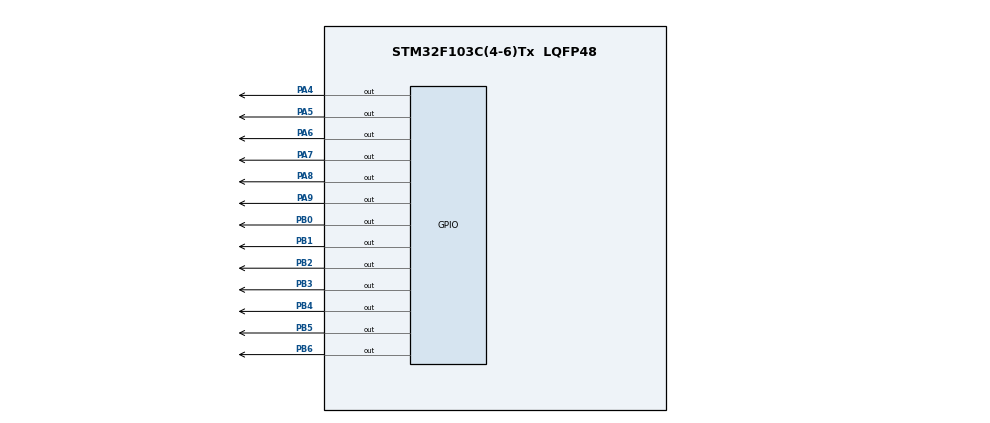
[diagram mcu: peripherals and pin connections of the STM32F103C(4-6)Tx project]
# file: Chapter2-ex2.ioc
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Mcu.Family=STM32F1
Mcu.Name=STM32F103C(4-6)Tx
Mcu.Package=LQFP48
NVIC.PriorityGroup=NVIC_PRIORITYGROUP_4
NVIC.TIM2_IRQn=true\:0\:0\:false\:false\:true\:true\:true
PA4.Signal=GPIO_Output
PA5.Signal=GPIO_Output
PA6.Signal=GPIO_Output
PA7.Signal=GPIO_Output
PA8.Signal=GPIO_Output
PA9.Signal=GPIO_Output
PB0.Signal=GPIO_Output
PB1.Signal=GPIO_Output
PB2.Signal=GPIO_Output
PB3.Signal=GPIO_Output
PB4.Signal=GPIO_Output
PB5.Signal=GPIO_Output
PB6.Signal=GPIO_Output
ProjectManager.HeapSize=0x200
ProjectManager.StackSize=0x400
ProjectManager.TargetToolchain=STM32CubeIDE
RCC.APB1Freq_Value=8000000
RCC.APB2Freq_Value=8000000
TIM2.AutoReloadPreload=TIM_AUTORELOAD_PRELOAD_ENABLE
TIM2.Period=9
TIM2.Prescaler=7999
VP_SYS_VS_ND.Mode=No_Debug
VP_TIM2_VS_ClockSourceINT.Mode=Internal
board=custom

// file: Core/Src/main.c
/* USER CODE BEGIN Header */
/**
  ******************************************************************************
  * @file           : main.c
  * @brief          : Main program body
  ******************************************************************************
  * @attention
  *
  * <h2><center>&copy; Copyright (c) 2021 STMicroelectronics.
  * All rights reserved.</center></h2>
  *
  * This software component is licensed by ST under BSD 3-Clause license,
  * the "License"; You may not use this file except in compliance with the
  * License. You may obtain a copy of the License at:
  *                        opensource.org/licenses/BSD-3-Clause
  *
  ******************************************************************************
  */
/* USER CODE END Header */
#include "main.h"

TIM_HandleTypeDef htim2;

/* USER CODE BEGIN PV */
int mil_1000 = 1;
int mil_500 = 1;

/* USER CODE END PV */

void SystemClock_Config(void);
static void MX_TIM2_Init(void);
static void MX_GPIO_Init(void);

int main(void)
{

  /* MCU Configuration--------------------------------------------------------*/

  /* Reset of all peripherals, Initializes the Flash interface and the Systick. */
  HAL_Init();

  /* Configure the system clock */
  SystemClock_Config();

  /* Initialize all configured peripherals */
  MX_TIM2_Init();
  MX_GPIO_Init();
  /* USER CODE BEGIN 2 */
  HAL_TIM_Base_Start_IT(&htim2);
  /* USER CODE END 2 */

  /* Infinite loop */
  while (1)
  {

  }
}

void SystemClock_Config(void)
{
  RCC_OscInitTypeDef RCC_OscInitStruct = {0};
  RCC_ClkInitTypeDef RCC_ClkInitStruct = {0};

  /** Initializes the RCC Oscillators according to the specified parameters
  * in the RCC_OscInitTypeDef structure.
  */
  RCC_OscInitStruct.OscillatorType = RCC_OSCILLATORTYPE_HSI;
  RCC_OscInitStruct.HSIState = RCC_HSI_ON;
  RCC_OscInitStruct.HSICalibrationValue = RCC_HSICALIBRATION_DEFAULT;
  RCC_OscInitStruct.PLL.PLLState = RCC_PLL_NONE;
  if (HAL_RCC_OscConfig(&RCC_OscInitStruct) != HAL_OK)
  {
    Error_Handler();
  }
  /** Initializes the CPU, AHB and APB buses clocks
  */
  RCC_ClkInitStruct.ClockType = RCC_CLOCKTYPE_HCLK|RCC_CLOCKTYPE_SYSCLK
                              |RCC_CLOCKTYPE_PCLK1|RCC_CLOCKTYPE_PCLK2;
  RCC_ClkInitStruct.SYSCLKSource = RCC_SYSCLKSOURCE_HSI;
  RCC_ClkInitStruct.AHBCLKDivider = RCC_SYSCLK_DIV1;
  RCC_ClkInitStruct.APB1CLKDivider = RCC_HCLK_DIV1;
  RCC_ClkInitStruct.APB2CLKDivider = RCC_HCLK_DIV1;

  if (HAL_RCC_ClockConfig(&RCC_ClkInitStruct, FLASH_LATENCY_0) != HAL_OK)
  {
    Error_Handler();
  }
}

static void MX_TIM2_Init(void)
{

  TIM_ClockConfigTypeDef sClockSourceConfig = {0};
  TIM_MasterConfigTypeDef sMasterConfig = {0};

  htim2.Instance = TIM2;
  htim2.Init.Prescaler = 7999;
  htim2.Init.CounterMode = TIM_COUNTERMODE_UP;
  htim2.Init.Period = 9;
  htim2.Init.ClockDivision = TIM_CLOCKDIVISION_DIV1;
  htim2.Init.AutoReloadPreload = TIM_AUTORELOAD_PRELOAD_ENABLE;
  if (HAL_TIM_Base_Init(&htim2) != HAL_OK)
  {
    Error_Handler();
  }
  sClockSourceConfig.ClockSource = TIM_CLOCKSOURCE_INTERNAL;
  if (HAL_TIM_ConfigClockSource(&htim2, &sClockSourceConfig) != HAL_OK)
  {
    Error_Handler();
  }
  sMasterConfig.MasterOutputTrigger = TIM_TRGO_RESET;
  sMasterConfig.MasterSlaveMode = TIM_MASTERSLAVEMODE_DISABLE;
  if (HAL_TIMEx_MasterConfigSynchronization(&htim2, &sMasterConfig) != HAL_OK)
  {
    Error_Handler();
  }

}

static void MX_GPIO_Init(void)
{
  GPIO_InitTypeDef GPIO_InitStruct = {0};

  /* GPIO Ports Clock Enable */
  __HAL_RCC_GPIOA_CLK_ENABLE();
  __HAL_RCC_GPIOB_CLK_ENABLE();

  /*Configure GPIO pin Output Level */
  HAL_GPIO_WritePin(GPIOA, GPIO_PIN_4|GPIO_PIN_5|GPIO_PIN_6|GPIO_PIN_7
                          |GPIO_PIN_8|GPIO_PIN_9, GPIO_PIN_RESET);

  /*Configure GPIO pin Output Level */
  HAL_GPIO_WritePin(GPIOB, GPIO_PIN_0|GPIO_PIN_1|GPIO_PIN_2|GPIO_PIN_3
                          |GPIO_PIN_4|GPIO_PIN_5|GPIO_PIN_6, GPIO_PIN_RESET);

  /*Configure GPIO pins : PA4 PA5 PA6 PA7
                           PA8 PA9 */
  GPIO_InitStruct.Pin = GPIO_PIN_4|GPIO_PIN_5|GPIO_PIN_6|GPIO_PIN_7
                          |GPIO_PIN_8|GPIO_PIN_9;
  GPIO_InitStruct.Mode = GPIO_MODE_OUTPUT_PP;
  GPIO_InitStruct.Pull = GPIO_NOPULL;
  GPIO_InitStruct.Speed = GPIO_SPEED_FREQ_LOW;
  HAL_GPIO_Init(GPIOA, &GPIO_InitStruct);

  /*Configure GPIO pins : PB0 PB1 PB2 PB3
                           PB4 PB5 PB6 */
  GPIO_InitStruct.Pin = GPIO_PIN_0|GPIO_PIN_1|GPIO_PIN_2|GPIO_PIN_3
                          |GPIO_PIN_4|GPIO_PIN_5|GPIO_PIN_6;
  GPIO_InitStruct.Mode = GPIO_MODE_OUTPUT_PP;
  GPIO_InitStruct.Pull = GPIO_NOPULL;
  GPIO_InitStruct.Speed = GPIO_SPEED_FREQ_LOW;
  HAL_GPIO_Init(GPIOB, &GPIO_InitStruct);

}

/* USER CODE BEGIN 4 */
void display7SEG(int num) {

	HAL_GPIO_WritePin(SEG_PORT, SEG0 | SEG1 | SEG2 | SEG3 | SEG4 | SEG5 | SEG6, 1);
		switch(num) {
		case 0:
			HAL_GPIO_WritePin(SEG_PORT, SEG0 | SEG1 | SEG2 | SEG3 | SEG4 | SEG5, 0);
			break;
		case 1:
			HAL_GPIO_WritePin(SEG_PORT, SEG1 | SEG2, 0);
			break;
		case 2:
			HAL_GPIO_WritePin(SEG_PORT, SEG0 | SEG1 | SEG3 | SEG4 | SEG6, 0);
			break;
		case 3:
			HAL_GPIO_WritePin(SEG_PORT, SEG0 | SEG1 | SEG2 | SEG3 | SEG6, 0);
			break;
		case 4:
			HAL_GPIO_WritePin(SEG_PORT, SEG1 | SEG2 | SEG5 | SEG6, 0);
			break;
		case 5:
			HAL_GPIO_WritePin(SEG_PORT, SEG0 | SEG2 | SEG3 | SEG5 | SEG6, 0);
			break;
		case 6:
			HAL_GPIO_WritePin(SEG_PORT, SEG0 | SEG2 | SEG3 | SEG4 | SEG5 | SEG6, 0);
			break;
		case 7:
			HAL_GPIO_WritePin(SEG_PORT, SEG0 | SEG1 | SEG2, 0);
			break;
		case 8:
			HAL_GPIO_WritePin(SEG_PORT, SEG0 | SEG1 | SEG2 | SEG3 | SEG4 | SEG5 | SEG6, 0);
			break;
		case 9:
			HAL_GPIO_WritePin(SEG_PORT, SEG0 | SEG1 | SEG2 | SEG3 | SEG5 | SEG6, 0);
			break;
		}
}

int led = 0;
void HAL_TIM_PeriodElapsedCallback(TIM_HandleTypeDef*htim) {
	mil_1000--; mil_500--;

	if(mil_500 == 0) {
		mil_500 = 50;

		HAL_GPIO_WritePin(EN_PORT, EN0 | EN1 | EN2 | EN3, 1);
		switch(led) {
		case 0:
			HAL_GPIO_WritePin(EN_PORT, EN0, 0);
			display7SEG(1);
			led = 1;
			break;
		case 1:
			HAL_GPIO_WritePin(EN_PORT, EN1, 0);
			display7SEG(2);
			led = 2;
			break;
		case 2:
			HAL_GPIO_WritePin(EN_PORT, EN2, 0);
			display7SEG(3);
			led = 3;
			break;
		case 3:
			HAL_GPIO_WritePin(EN_PORT, EN3, 0);
			display7SEG(0);
			led = 0;
			break;
		}
	}
	if(mil_1000 == 0) {
		mil_1000 = 100;
		HAL_GPIO_TogglePin(DOT_PORT, DOT);
		HAL_GPIO_TogglePin(RLED_PORT, RLED1);
	}
}
/* USER CODE END 4 */

void Error_Handler(void)
{
  __disable_irq();
  while (1)
  {
  }
}

/************************ (C) COPYRIGHT STMicroelectronics *****END OF FILE****/
